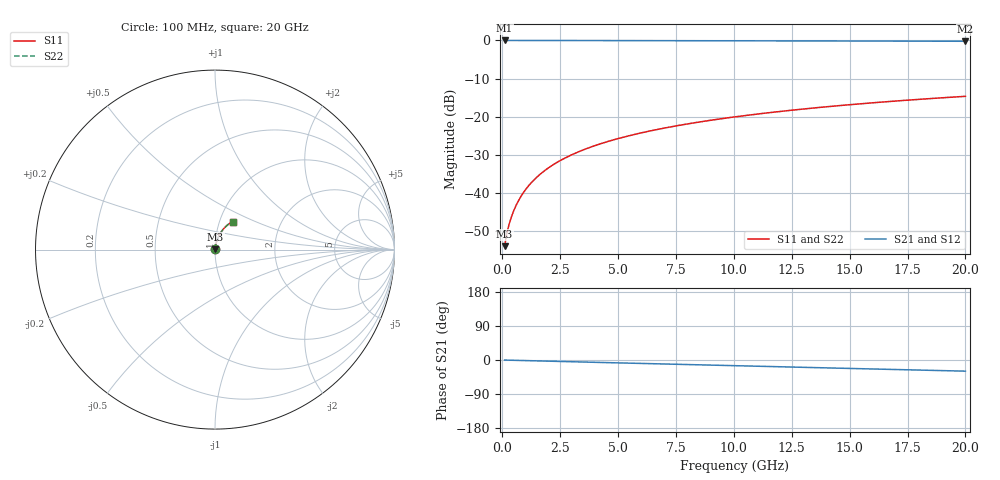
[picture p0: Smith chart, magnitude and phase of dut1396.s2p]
! Touchstone file exported from HFSS 2026.1.0
!  File:  C:/ffzhzh/LocalFiles/Ansys_Project_Files/temp_train_TMRDL_1396_1783166272_22436.aedt
!  Generated:  07:59:02 PM Jul  4, 2026
!  Design:  TMRDL
!  Project:  temp_train_TMRDL_1396_1783166272_22436
! Variables:
!  h_bsmrdl = 2um
!  h_ox = 20um
!  h_rdl = 5um
!  h_sub = 80um
!  h_tmrdl = 4.48um
!  h_tsv = 80um
!  h_via = 3um
!  l_bsmrdl = 300um
!  l_sub = 864um
!  l_tmrdl = 464um
!  m_sub = 200um
!  pitch = 44.25um
!  r_tsv = 6um
!  s_tmrdl = 10um
!  w_bsmrdl = 18um
!  w_sub = 500um
!  w_tmrdl = 28.42um
!  x_tsv_center1 = 478.21um
!  x_tsv_center2 = 796.21um
!  x_tsv_center3 = 1288.63um
!  x_tsv_center4 = 1606.63um
!  x_tsv_center5 = 2099.05um
!  x_tsv_center6 = 2417.05um
# GHz S MA R 50.000000
! Terminal data exported
! Port[1] = TM_RDL1_1_T1
! Port[2] = TM_RDL1_1_T2
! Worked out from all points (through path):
!   200 points, 100 MHz to 20 GHz, reference 50 ohm
!   highest |S21| = -0.01 dB at 100 MHz (marker M1); lowest = -0.2 dB at 20 GHz (marker M2)
!   group delay of S21, straight-line fit = 4.08 ps
!   lowest |S11| = -54.0 dB at 100 MHz (marker M3), VSWR 1.00, Z = 50.2 + j0.128 ohm
!   |S11| at or under -10 dB: start of sweep to end of sweep
!   |S22| runs from -54.0 to -14.7 dB; largest |S21 - S12| = 3.4e-15
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0.1  0.001997 39.7  0.9985 -0.2  0.9985 -0.2  0.001997 39.7
! Gamma 0 0 0 0
! Port Impedance 50 0 50 0
0.2  0.002955 54.7  0.9983 -0.3  0.9983 -0.3  0.002955 54.7
0.3  0.003923 61.9  0.9982 -0.5  0.9982 -0.5  0.003923 61.9
0.4  0.004894 66.6  0.9981 -0.6  0.9981 -0.6  0.004894 66.6
0.5  0.005879 69.8  0.998 -0.8  0.998 -0.8  0.005879 69.8
0.6  0.006878 72.2  0.998 -0.9  0.998 -0.9  0.006878 72.2
0.8  0.008909 75.4  0.9979 -1.2  0.9979 -1.2  0.008909 75.4
1.1  0.012 77.9  0.9978 -1.7  0.9978 -1.7  0.012 77.9
1.3  0.01408 78.9  0.9977 -2.0  0.9977 -2.0  0.01408 78.9
1.6  0.01719 79.7  0.9975 -2.5  0.9975 -2.5  0.01719 79.7
2.1  0.02237 80.2  0.9972 -3.2  0.9972 -3.2  0.02237 80.2
2.7  0.02853 80.1  0.9967 -4.1  0.9967 -4.1  0.02853 80.1
3.5  0.03663 79.5  0.996 -5.3  0.996 -5.3  0.03663 79.5
4.2  0.04362 78.8  0.9954 -6.4  0.9954 -6.4  0.04362 78.8
5  0.05151 77.8  0.9946 -7.6  0.9946 -7.6  0.05151 77.8
5.9  0.06025 76.7  0.9936 -8.9  0.9936 -8.9  0.06025 76.7
6.8  0.06888 75.6  0.9926 -10.3  0.9926 -10.3  0.06889 75.6
8.3  0.08306 73.7  0.9909 -12.5  0.9909 -12.5  0.08306 73.6
10.1  0.09973 71.3  0.9888 -15.1  0.9888 -15.1  0.09974 71.3
13.4  0.1294 66.9  0.9844 -19.9  0.9844 -19.9  0.1294 66.9
16.7  0.1578 62.4  0.9795 -24.7  0.9795 -24.7  0.1578 62.4
20  0.1847 58.0  0.9742 -29.4  0.9742 -29.4  0.1847 57.9
